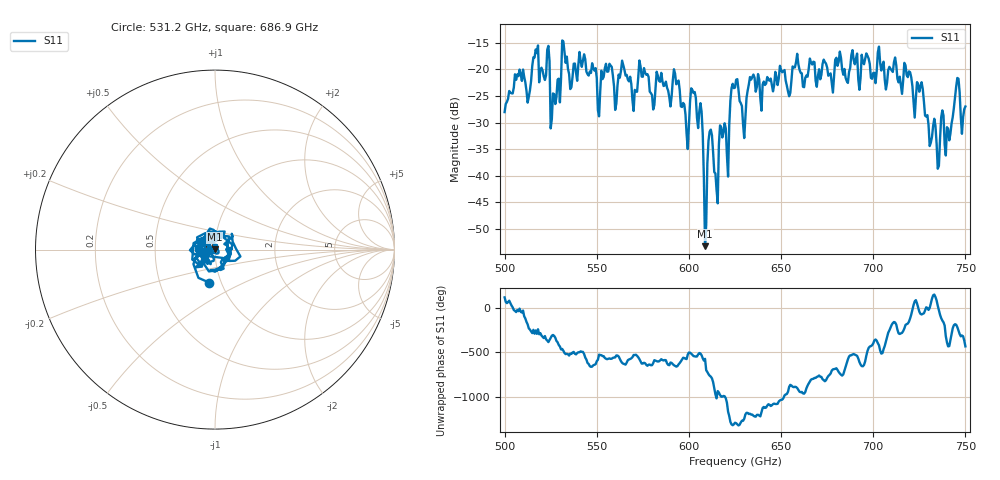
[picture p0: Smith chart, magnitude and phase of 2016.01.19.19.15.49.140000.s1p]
!Created with skrf (http://scikit-rf.org).
# GHz S RI R 50.0
!freq ReS11 ImS11
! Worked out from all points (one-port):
!   401 points, 500 GHz to 750 GHz, reference 50 ohm
!   lowest |S11| = -53.2 dB at 608.8 GHz (marker M1), VSWR 1.00, Z = 49.8 + j0.112 ohm
!   |S11| at or under -10 dB: start of sweep to end of sweep
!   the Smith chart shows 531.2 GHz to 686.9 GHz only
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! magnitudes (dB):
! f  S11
! 500 GHz  -28.0
! 506.9 GHz  -21.0
! 513.1 GHz  -25.2
! 516.9 GHz  -16.3
! 523.1 GHz  -16.3
! 526.2 GHz  -24.5
! 531.2 GHz  -14.6
! 551.9 GHz  -24.1
! 562.5 GHz  -21.6
! 570.6 GHz  -23.9
! 574.4 GHz  -21.4
! 593.8 GHz  -22.5
! 598.8 GHz  -32.2
! 602.5 GHz  -24.5
! 606.2 GHz  -26.4
! 608.8 GHz  -53.2
! 611.2 GHz  -31.7
! 615 GHz  -42.7
! 625 GHz  -23.4
! 629.4 GHz  -30.3
! 634.4 GHz  -21.4
! 656.2 GHz  -19.5
! 687.5 GHz  -19.7
! 718.8 GHz  -21.5
! 735 GHz  -38.7
! 740.6 GHz  -31.2
! 745.6 GHz  -21.6
! 750 GHz  -27.0
